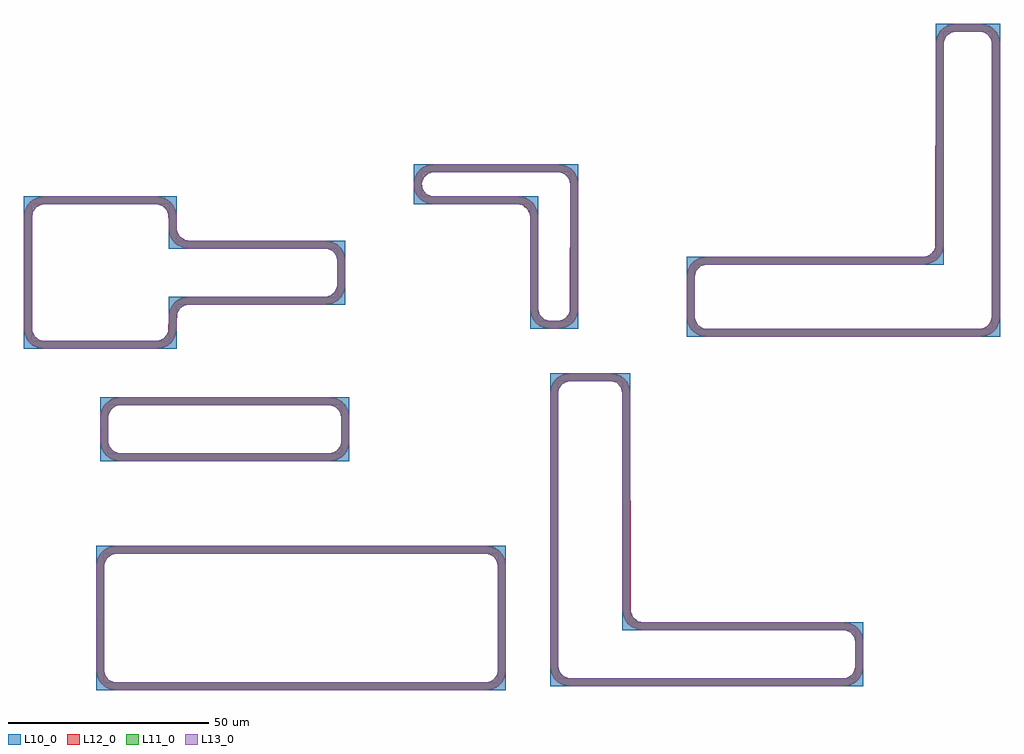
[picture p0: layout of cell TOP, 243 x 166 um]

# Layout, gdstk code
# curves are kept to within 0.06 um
from math import pi, radians
import gdstk
lib = gdstk.Library(unit=1e-6, precision=1e-09)
def R(c, l, rs):  # rectangles x0, y0, x1, y1
    for r in rs: c.add(gdstk.rectangle(r[:2], r[2:], *l))
def P(c, l, *ps):  # polygons
    for p in ps: c.add(gdstk.Polygon(p, *l))
L10_0 = (10, 0)
L11_0 = (11, 0)
L12_0 = (12, 0)
L13_0 = (13, 0)

c_a = lib.new_cell('A')

c_b = lib.new_cell('B')
R(c_b, L10_0, [(10,-19,12,12), (12,-19,22,-17), (20,-17,22,12), (-19,12,-17,20), (-17,12,12,14), (20,12,22,22), (-19,20,20,22)])
P(c_b, L11_0, [(14.843,-19),(13.305,-18.707),(12.454,-18.306),(11.692,-17.752),(10.694,-16.546),(10.293,-15.695),(10.059,-14.783),(10,9.094),(9.755,10.192),(9.251,10.985),(8.84,11.372),(8.192,11.755),(7.094,12),(-14.157,12),(-15.091,12.118),(-16.546,12.694),(-17.308,13.248),(-17.953,13.934),(-18.457,14.729),(-18.804,15.604),(-18.98,16.529),(-18.98,17.471),(-18.707,18.695),(-18.001,20),(-14.094,20),(-15.192,19.755),(-15.985,19.251),(-16.584,18.528),(-16.965,17.47),(-16.965,16.53),(-16.584,15.472),(-15.84,14.628),(-14.837,14.118),(-14.094,14),(7.157,14),(8.091,13.882),(8.987,13.591),(9.812,13.137),(10.537,12.537),(11.137,11.812),(11.591,10.987),(11.882,10.091),(12,9.157),(12,-14.094),(12.071,-14.655),(12.245,-15.192),(12.628,-15.84),(13.16,-16.372),(13.808,-16.755),(14.718,-16.988),(17.094,-17),(18.192,-16.755),(19.122,-16.122),(19.755,-15.192),(20,-14.094),(20,17.094),(19.824,18.017),(19.372,18.84),(18.84,19.372),(18.363,19.674),(17.655,19.929),(17.094,20),(-18.001,20),(-17.066,20.953),(-15.695,21.707),(-14.157,22),(17.157,22),(18.396,21.804),(19.271,21.457),(20.066,20.953),(20.953,20.066),(21.707,18.695),(22,17.157),(21.941,-14.783),(21.707,-15.695),(21.137,-16.812),(20.537,-17.537),(19.546,-18.306),(18.695,-18.707),(17.783,-18.941)])
P(c_b, L12_0, [(17.471,-18.98),(14.217,-18.941),(13.013,-18.591),(11.934,-17.953),(11.047,-17.066),(10.409,-15.987),(10.059,-14.783),(9.988,9.282),(9.482,10.687),(8.363,11.674),(7.655,11.929),(-14.157,12),(-15.396,12.196),(-16.546,12.694),(-17.537,13.463),(-18.306,14.454),(-18.804,15.604),(-19,16.843),(-18.882,18.091),(-18.457,19.271),(-17.961,20),(17.094,20),(-14.655,19.929),(-15.363,19.674),(-16.482,18.687),(-16.988,17.282),(-16.755,15.808),(-15.84,14.628),(-14.47,14.035),(7.471,13.98),(8.695,13.707),(9.812,13.137),(10.752,12.308),(11.457,11.271),(11.98,9.471),(12,-14.094),(12.416,-15.528),(13.472,-16.584),(14.53,-16.965),(17.282,-16.988),(18.687,-16.482),(19.674,-15.363),(19.929,-14.655),(20,17.094),(19.584,18.528),(18.528,19.584),(17.094,20),(-17.961,20),(-17.752,20.308),(-16.812,21.137),(-15.695,21.707),(-14.471,21.98),(17.783,21.941),(18.987,21.591),(20.066,20.953),(20.953,20.066),(21.591,18.987),(21.941,17.783),(21.98,-14.471),(21.707,-15.695),(21.137,-16.812),(20.308,-17.752),(19.271,-18.457)])
P(c_b, L13_0, [(14.843,-19),(13.013,-18.591),(11.934,-17.953),(11.047,-17.066),(10.409,-15.987),(10,-14.157),(10,9.094),(9.674,10.363),(8.687,11.482),(7.094,12),(-14.157,12),(-15.396,12.196),(-16.546,12.694),(-17.537,13.463),(-18.306,14.454),(-18.804,15.604),(-19,17.157),(-18.707,18.695),(-17.971,20),(-14.094,20),(-15.017,19.824),(-16.251,18.985),(-16.929,17.655),(-17,17.094),(-16.755,15.808),(-15.84,14.628),(-14.47,14.035),(7.157,14),(8.091,13.882),(9.271,13.457),(10.308,12.752),(11.137,11.812),(11.707,10.695),(12,9.157),(12,-14.094),(12.416,-15.528),(13.472,-16.584),(14.906,-17),(17.094,-17),(17.655,-16.929),(18.985,-16.251),(19.824,-15.017),(20,-14.094),(20,17.094),(19.882,17.837),(19.122,19.122),(17.837,19.882),(17.094,20),(-17.971,20),(-17.308,20.752),(-16.271,21.457),(-15.091,21.882),(-14.157,22),(17.157,22),(18.987,21.591),(20.066,20.953),(20.953,20.066),(21.591,18.987),(22,17.157),(22,-14.157),(21.882,-15.091),(21.457,-16.271),(20.752,-17.308),(19.812,-18.137),(18.695,-18.707),(17.157,-19)])

b_var1 = lib.new_cell('B$VAR1')
R(b_var1, L10_0, [(11,-18,21,-17), (11,-17,12,13), (20,-17,21,13), (-18,13,-17,20), (-17,13,12,14), (20,13,21,21), (-18,20,20,21)])
P(b_var1, L11_0, [(13.422,-18),(12.507,-17.796),(11.732,-17.269),(11.205,-16.494),(11.01,-15.736),(11,11.547),(10.878,12.096),(10.626,12.493),(10.096,12.878),(9.547,13),(-16.046,13.059),(-16.636,13.272),(-17.154,13.624),(-17.569,14.094),(-17.854,14.653),(-18,15.422),(-17.971,18.892),(-17.796,19.494),(-17.501,20),(-15.547,20),(-16.096,19.878),(-16.561,19.561),(-16.878,19.096),(-17,18.547),(-16.941,15.082),(-16.493,14.375),(-15.735,14.018),(9.579,14),(10.494,13.796),(11.269,13.269),(11.796,12.494),(12,11.579),(12.036,-15.828),(12.208,-16.264),(12.508,-16.626),(13.265,-16.983),(18.547,-17),(19.096,-16.878),(19.561,-16.561),(19.878,-16.096),(20,-15.547),(20,18.547),(19.912,19.009),(19.686,19.42),(19.182,19.837),(18.547,20),(-17.501,20),(-17.033,20.477),(-16.348,20.854),(-15.579,21),(18.579,21),(19.636,20.729),(20.477,20.033),(20.854,19.348),(21,18.579),(20.971,-15.892),(20.796,-16.494),(20.376,-17.154),(19.906,-17.569),(19.198,-17.902),(18.579,-18)])
P(b_var1, L12_0, [(18.736,-17.99),(13.109,-17.971),(12.507,-17.796),(11.967,-17.477),(11.524,-17.033),(11.205,-16.494),(11.03,-15.892),(10.994,11.641),(10.741,12.344),(10.182,12.837),(9.828,12.965),(-15.579,13),(-16.198,13.098),(-16.773,13.347),(-17.269,13.732),(-17.653,14.227),(-17.902,14.802),(-18,15.422),(-17.99,18.736),(-17.729,19.636),(-17.481,20),(18.547,20),(-15.828,19.965),(-16.182,19.837),(-16.741,19.344),(-16.994,18.641),(-16.983,15.265),(-16.878,14.904),(-16.42,14.314),(-15.735,14.018),(9.736,13.99),(10.348,13.854),(10.906,13.569),(11.376,13.154),(11.729,12.636),(11.99,11.736),(12,-15.547),(12.208,-16.264),(12.736,-16.792),(13.265,-16.983),(18.641,-16.994),(19.344,-16.741),(19.837,-16.182),(19.965,-15.828),(20,18.547),(19.792,19.264),(19.264,19.792),(18.547,20),(-17.481,20),(-17.376,20.154),(-16.906,20.569),(-16.348,20.854),(-15.736,20.99),(18.892,20.971),(19.494,20.796),(20.033,20.477),(20.477,20.033),(20.796,19.494),(20.971,18.892),(20.99,-15.736),(20.854,-16.348),(20.569,-16.906),(20.154,-17.376),(19.636,-17.729)])
P(b_var1, L13_0, [(13.422,-18),(12.507,-17.796),(11.967,-17.477),(11.524,-17.033),(11.205,-16.494),(11,-15.579),(11,11.547),(10.837,12.182),(10.344,12.741),(9.547,13),(-15.579,13),(-16.198,13.098),(-16.773,13.347),(-17.269,13.732),(-17.653,14.227),(-17.902,14.802),(-18,15.422),(-18,18.579),(-17.854,19.348),(-17.486,20),(-15.547,20),(-16.009,19.912),(-16.626,19.493),(-16.965,18.828),(-17,18.547),(-17,15.453),(-16.878,14.904),(-16.42,14.314),(-15.735,14.018),(9.579,14),(10.636,13.729),(11.154,13.376),(11.569,12.906),(11.854,12.348),(12,11.579),(12,-15.547),(12.208,-16.264),(12.736,-16.792),(13.453,-17),(18.547,-17),(18.828,-16.965),(19.493,-16.626),(19.912,-16.009),(20,-15.547),(20,18.547),(19.941,18.919),(19.561,19.561),(18.919,19.941),(18.547,20),(-17.486,20),(-17.154,20.376),(-16.636,20.729),(-15.579,21),(18.579,21),(19.494,20.796),(20.033,20.477),(20.477,20.033),(20.796,19.494),(21,18.579),(20.941,-16.046),(20.729,-16.636),(20.376,-17.154),(19.906,-17.569),(19.348,-17.854),(18.579,-18)])

c_c = lib.new_cell('C')
c_c.add(gdstk.Reference(b_var1, (14,28), rotation=pi))

top = lib.new_cell('TOP')
R(top, L10_0, [(5,-102,7,-68), (7,-102,107,-100), (105,-100,107,-68), (5,-68,107,-66), (6,-45,8,-31), (8,-45,66,-43), (66,-45,68,-29), (6,-31,8,-29), (8,-31,66,-29), (-13,-17,-11,19), (-11,-17,25,-15), (23,-15,25,-4), (25,-6,67,-4), (65,-4,67,8), (23,8,25,19), (25,8,67,10), (-13,19,25,21)])
P(top, L11_0, [(-8.157,-17),(-9.091,-16.882),(-9.987,-16.591),(-10.812,-16.137),(-11.537,-15.537),(-12.137,-14.812),(-12.591,-13.987),(-12.98,-12.471),(-13,16.157),(-12.707,17.695),(-12.001,19),(-8.094,19),(-9.192,18.755),(-10.122,18.122),(-10.755,17.192),(-11,16.094),(-10.988,-12.282),(-10.755,-13.192),(-10.251,-13.985),(-9.528,-14.584),(-8.47,-14.965),(20.094,-15),(20.837,-14.882),(21.528,-14.584),(21.985,-14.251),(22.482,-13.687),(22.824,-13.017),(23,-12.094),(23.059,-8.217),(23.293,-7.305),(23.694,-6.454),(24.463,-5.463),(25.188,-4.863),(26.305,-4.293),(27.217,-4.059),(62.094,-4),(62.837,-3.882),(63.528,-3.584),(64.251,-2.985),(64.674,-2.363),(64.929,-1.655),(65,-1.094),(65,5.094),(64.755,6.192),(64.251,6.985),(63.363,7.674),(62.282,7.988),(27.843,8),(26.909,8.118),(26.013,8.409),(24.934,9.047),(24.248,9.692),(23.694,10.454),(23.293,11.305),(23.059,12.217),(23,16.094),(22.882,16.837),(22.584,17.528),(22.251,17.985),(21.687,18.482),(21.017,18.824),(20.094,19),(-12.001,19),(-11.537,19.537),(-10.812,20.137),(-9.396,20.804),(-8.157,21),(20.783,20.941),(21.695,20.707),(22.812,20.137),(23.537,19.537),(24.306,18.546),(24.707,17.695),(24.941,16.783),(25,12.906),(25.176,11.983),(25.518,11.313),(26.015,10.749),(26.472,10.416),(27.163,10.118),(27.906,10),(62.471,9.98),(63.695,9.707),(65.066,8.953),(66.137,7.812),(66.804,6.396),(67,5.157),(67,-1.157),(66.804,-2.396),(66.306,-3.546),(65.537,-4.537),(64.546,-5.306),(63.396,-5.804),(62.157,-6),(27.53,-6.035),(26.808,-6.245),(26.16,-6.628),(25.628,-7.16),(25.176,-7.983),(25,-8.906),(24.941,-12.783),(24.707,-13.695),(24.306,-14.546),(23.752,-15.308),(23.066,-15.953),(22.271,-16.457),(21.396,-16.804),(20.157,-17)],
  [(9.843,-102),(8.909,-101.882),(8.013,-101.591),(7.188,-101.137),(6.463,-100.537),(5.863,-99.812),(5.409,-98.987),(5.02,-97.471),(5,-70.843),(5.293,-69.305),(5.999,-68),(9.906,-68),(8.808,-68.245),(7.878,-68.878),(7.245,-69.808),(7,-70.906),(7.012,-97.282),(7.326,-98.363),(8.015,-99.251),(8.808,-99.755),(9.906,-100),(102.094,-100),(102.837,-99.882),(103.687,-99.482),(104.372,-98.84),(104.755,-98.192),(104.988,-97.282),(105,-70.906),(104.755,-69.808),(104.122,-68.878),(103.192,-68.245),(102.094,-68),(5.999,-68),(6.934,-67.047),(8.305,-66.293),(9.843,-66),(102.157,-66),(103.695,-66.293),(105.066,-67.047),(105.953,-67.934),(106.707,-69.305),(107,-70.843),(106.98,-97.471),(106.707,-98.695),(105.953,-100.066),(105.066,-100.953),(103.695,-101.707),(102.157,-102)],
  [(10.843,-45),(9.305,-44.707),(7.934,-43.953),(6.863,-42.812),(6.196,-41.396),(6,-40.157),(6.02,-33.529),(6.293,-32.305),(6.999,-31),(10.906,-31),(9.808,-31.245),(8.878,-31.878),(8.245,-32.808),(8,-33.906),(8,-40.094),(8.118,-40.837),(8.518,-41.687),(9.16,-42.372),(9.983,-42.824),(10.906,-43),(63.47,-42.965),(64.192,-42.755),(64.985,-42.251),(65.584,-41.528),(65.882,-40.837),(66,-40.094),(66,-33.906),(65.755,-32.808),(65.251,-32.015),(64.363,-31.326),(63.282,-31.012),(6.999,-31),(7.463,-30.463),(8.188,-29.863),(9.013,-29.409),(9.909,-29.118),(10.843,-29),(63.471,-29.02),(64.987,-29.409),(66.308,-30.248),(67.306,-31.454),(67.882,-32.909),(68,-33.843),(68,-40.157),(67.804,-41.396),(67.306,-42.546),(66.308,-43.752),(65.271,-44.457),(64.091,-44.882),(63.157,-45)])
P(top, L12_0, [(20.471,-16.98),(-8.783,-16.941),(-9.987,-16.591),(-11.066,-15.953),(-11.953,-15.066),(-12.591,-13.987),(-12.941,-12.783),(-12.98,16.471),(-12.707,17.695),(-11.971,19),(20.094,19),(-8.655,18.929),(-9.985,18.251),(-10.824,17.017),(-10.988,16.282),(-10.965,-12.47),(-10.372,-13.84),(-9.192,-14.755),(-8.47,-14.965),(20.282,-14.988),(21.687,-14.482),(22.674,-13.363),(22.929,-12.655),(23,-8.843),(23.196,-7.604),(23.694,-6.454),(24.463,-5.463),(25.454,-4.694),(26.604,-4.196),(27.843,-4),(62.655,-3.929),(63.363,-3.674),(64.482,-2.687),(64.988,-1.282),(64.965,5.47),(64.755,6.192),(63.84,7.372),(62.47,7.965),(27.529,8.02),(26.305,8.293),(25.188,8.863),(24.248,9.692),(23.543,10.729),(23.118,11.909),(22.882,16.837),(22.122,18.122),(20.837,18.882),(20.094,19),(-11.971,19),(-11.308,19.752),(-10.271,20.457),(-8.471,20.98),(20.157,21),(21.396,20.804),(22.546,20.306),(23.537,19.537),(24.306,18.546),(24.804,17.396),(25,16.157),(25.071,12.345),(25.749,11.015),(26.983,10.176),(27.718,10.012),(62.783,9.941),(63.987,9.591),(65.066,8.953),(65.953,8.066),(66.591,6.987),(66.941,5.783),(66.98,-1.471),(66.707,-2.695),(66.137,-3.812),(65.308,-4.752),(64.271,-5.457),(62.471,-5.98),(27.906,-6),(27.163,-6.118),(25.878,-6.878),(25.118,-8.163),(24.882,-13.091),(24.457,-14.271),(23.752,-15.308),(22.812,-16.137),(21.695,-16.707)],
  [(102.471,-101.98),(9.217,-101.941),(8.013,-101.591),(6.934,-100.953),(6.047,-100.066),(5.409,-98.987),(5.059,-97.783),(5.02,-70.529),(5.293,-69.305),(6.029,-68),(102.094,-68),(9.345,-68.071),(8.637,-68.326),(7.518,-69.313),(7.012,-70.718),(7.035,-97.47),(7.245,-98.192),(8.16,-99.372),(9.53,-99.965),(102.282,-99.988),(103.687,-99.482),(104.674,-98.363),(104.929,-97.655),(105,-70.906),(104.584,-69.472),(103.528,-68.416),(102.094,-68),(6.029,-68),(6.692,-67.248),(7.729,-66.543),(9.529,-66.02),(102.157,-66),(103.396,-66.196),(104.546,-66.694),(105.537,-67.463),(106.306,-68.454),(106.804,-69.604),(107,-70.843),(106.98,-97.471),(106.457,-99.271),(105.752,-100.308),(104.812,-101.137),(103.695,-101.707)],
  [(63.471,-44.98),(10.217,-44.941),(9.013,-44.591),(7.934,-43.953),(7.047,-43.066),(6.409,-41.987),(6.059,-40.783),(6.02,-33.529),(6.293,-32.305),(7.029,-31),(63.094,-31),(10.345,-31.071),(9.637,-31.326),(8.518,-32.313),(8.012,-33.718),(8.035,-40.47),(8.245,-41.192),(9.16,-42.372),(10.53,-42.965),(63.282,-42.988),(64.687,-42.482),(65.674,-41.363),(65.929,-40.655),(66,-33.906),(65.584,-32.472),(64.528,-31.416),(63.094,-31),(7.029,-31),(7.692,-30.248),(8.729,-29.543),(10.529,-29.02),(63.157,-29),(64.396,-29.196),(65.546,-29.694),(66.537,-30.463),(67.306,-31.454),(67.804,-32.604),(68,-33.843),(67.98,-40.471),(67.457,-42.271),(66.752,-43.308),(65.812,-44.137),(64.695,-44.707)])
P(top, L13_0, [(-8.157,-17),(-9.987,-16.591),(-11.066,-15.953),(-11.953,-15.066),(-12.591,-13.987),(-13,-12.157),(-13,16.157),(-12.882,17.091),(-12.457,18.271),(-11.961,19),(-8.094,19),(-9.687,18.482),(-10.674,17.363),(-11,16.094),(-10.965,-12.47),(-10.372,-13.84),(-9.192,-14.755),(-8.094,-15),(20.094,-15),(20.655,-14.929),(21.985,-14.251),(22.824,-13.017),(23,-12.094),(23,-8.843),(23.196,-7.604),(23.694,-6.454),(24.463,-5.463),(25.454,-4.694),(26.604,-4.196),(27.843,-4),(62.094,-4),(63.017,-3.824),(64.251,-2.985),(64.929,-1.655),(65,-1.094),(65,5.094),(64.755,6.192),(63.84,7.372),(62.47,7.965),(62.094,8),(27.843,8),(26.909,8.118),(25.729,8.543),(24.692,9.248),(23.863,10.188),(23.293,11.305),(23,12.843),(23,16.094),(22.584,17.528),(21.528,18.584),(20.094,19),(-11.961,19),(-11.752,19.308),(-10.812,20.137),(-9.695,20.707),(-8.157,21),(20.157,21),(21.396,20.804),(22.546,20.306),(23.537,19.537),(24.306,18.546),(24.804,17.396),(25,16.157),(25.012,12.718),(25.518,11.313),(26.637,10.326),(27.906,10),(62.157,10),(63.987,9.591),(65.066,8.953),(65.953,8.066),(66.591,6.987),(67,5.157),(67,-1.157),(66.882,-2.091),(66.457,-3.271),(65.752,-4.308),(64.812,-5.137),(63.695,-5.707),(62.157,-6),(27.906,-6),(27.163,-6.118),(25.878,-6.878),(25.118,-8.163),(25,-8.906),(25,-12.157),(24.707,-13.695),(24.137,-14.812),(23.308,-15.752),(22.271,-16.457),(21.091,-16.882),(20.157,-17)],
  [(9.843,-102),(8.013,-101.591),(6.934,-100.953),(6.047,-100.066),(5.409,-98.987),(5,-97.157),(5,-70.843),(5.118,-69.909),(5.543,-68.729),(6.039,-68),(9.906,-68),(8.983,-68.176),(7.749,-69.015),(7.071,-70.345),(7,-70.906),(7,-97.094),(7.245,-98.192),(8.16,-99.372),(9.53,-99.965),(9.906,-100),(102.094,-100),(102.655,-99.929),(103.985,-99.251),(104.824,-98.017),(105,-97.094),(105,-70.906),(104.882,-70.163),(104.122,-68.878),(102.837,-68.118),(102.094,-68),(6.039,-68),(6.248,-67.692),(7.188,-66.863),(8.305,-66.293),(9.843,-66),(102.157,-66),(103.396,-66.196),(104.546,-66.694),(105.537,-67.463),(106.306,-68.454),(106.804,-69.604),(107,-70.843),(107,-97.157),(106.707,-98.695),(106.137,-99.812),(105.308,-100.752),(104.271,-101.457),(103.091,-101.882),(102.157,-102)],
  [(10.843,-45),(9.013,-44.591),(7.934,-43.953),(7.047,-43.066),(6.409,-41.987),(6,-40.157),(6,-33.843),(6.118,-32.909),(6.543,-31.729),(7.039,-31),(10.906,-31),(9.983,-31.176),(8.749,-32.015),(8.071,-33.345),(8,-33.906),(8,-40.094),(8.245,-41.192),(9.16,-42.372),(10.53,-42.965),(10.906,-43),(63.094,-43),(63.655,-42.929),(64.985,-42.251),(65.824,-41.017),(66,-40.094),(66,-33.906),(65.882,-33.163),(65.122,-31.878),(63.837,-31.118),(63.094,-31),(7.039,-31),(7.248,-30.692),(8.188,-29.863),(9.305,-29.293),(10.843,-29),(63.157,-29),(64.396,-29.196),(65.546,-29.694),(66.537,-30.463),(67.306,-31.454),(67.804,-32.604),(68,-33.843),(68,-40.157),(67.707,-41.695),(67.137,-42.812),(66.308,-43.752),(65.271,-44.457),(64.091,-44.882),(63.157,-45)])
top.add(gdstk.Reference(c_a, (7,8)))
top.add(gdstk.Reference(c_a, (8,-31)))
r = gdstk.Reference(c_a, (7,-88)); r.repetition = gdstk.Repetition(2, 5, v1=(40,0), v2=(0,5)); top.add(r)
top.add(gdstk.Reference(c_b, (103,7)))
top.add(gdstk.Reference(c_c, (244,0), rotation=pi/2, magnification=2))
top.add(gdstk.Reference(b_var1, (160,-59), rotation=pi, magnification=2))

lib.write_gds('TOP.gds')
